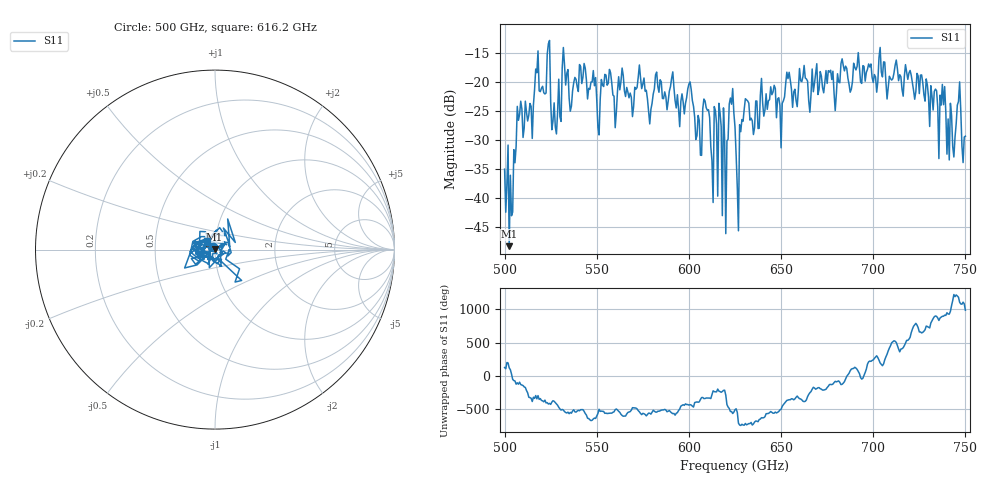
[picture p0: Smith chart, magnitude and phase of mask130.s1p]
!Created with skrf (http://scikit-rf.org).
# GHz S MA R 50.0
!freq magS11 angS11
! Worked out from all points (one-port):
!   401 points, 500 GHz to 750 GHz, reference 50 ohm
!   lowest |S11| = -48.2 dB at 502.5 GHz (marker M1), VSWR 1.01, Z = 49.8 + j0.322 ohm
!   |S11| at or under -10 dB: start of sweep to end of sweep
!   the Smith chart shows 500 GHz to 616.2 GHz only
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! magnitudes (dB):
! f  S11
! 500 GHz  -35.0
! 502.5 GHz  -48.2
! 503.8 GHz  -43.0
! 508.1 GHz  -25.6
! 523.1 GHz  -15.2
! 526.9 GHz  -23.6
! 531.2 GHz  -17.6
! 542.5 GHz  -19.2
! 551.2 GHz  -29.1
! 562.5 GHz  -21.4
! 593.8 GHz  -22.2
! 600.6 GHz  -20.0
! 605.6 GHz  -26.7
! 609.4 GHz  -24.4
! 611.9 GHz  -31.2
! 617.5 GHz  -27.7
! 619.4 GHz  -29.9
! 623.1 GHz  -23.8
! 625 GHz  -27.8
! 626.9 GHz  -45.6
! 631.2 GHz  -23.1
! 656.2 GHz  -24.4
! 687.5 GHz  -21.8
! 718.8 GHz  -19.6
! 737.5 GHz  -20.4
! 742.5 GHz  -25.8
! 746.2 GHz  -23.4
! 750 GHz  -29.3
